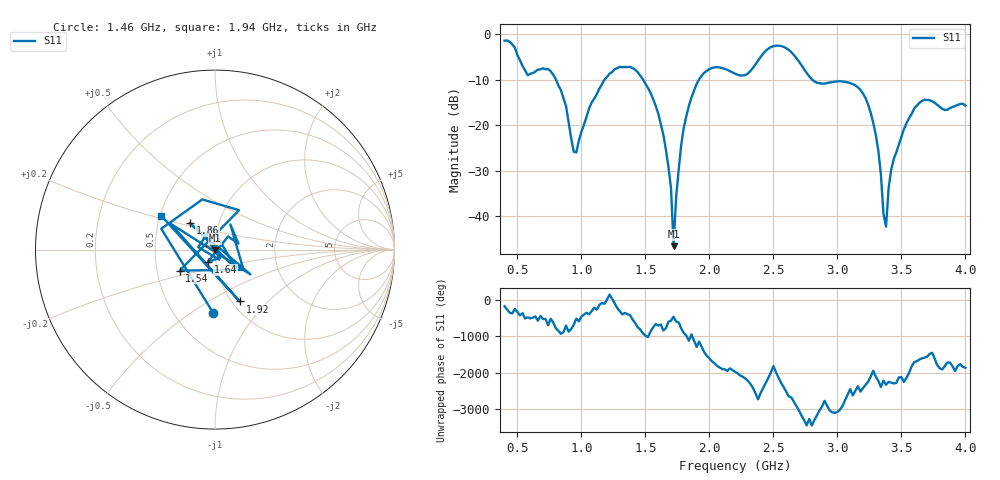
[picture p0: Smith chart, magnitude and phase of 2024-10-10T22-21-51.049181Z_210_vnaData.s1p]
! Created with skrf (http://scikit-rf.org).
# Hz S RI R 50.0
!freq ReS11 ImS11
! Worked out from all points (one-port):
!   181 points, 400 MHz to 4 GHz, reference 50 ohm
!   lowest |S11| = -46.6 dB at 1.72 GHz (marker M1), VSWR 1.01, Z = 49.9 - j0.459 ohm
!   |S11| at or under -10 dB: 802.4 MHz to 1.179 GHz (376.8 MHz wide, 38 % of centre); 1.483 GHz to 1.918 GHz (434.9 MHz wide, 25.6 % of centre); 2.806 GHz to end of sweep
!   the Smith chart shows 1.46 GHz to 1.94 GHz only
!   S11 on the Smith chart (normalised r, x): 1.46 GHz: 0.77, -0.61; 1.54 GHz: 0.66, -0.16; 1.64 GHz: 0.92, -0.13; 1.86 GHz: 0.73, +0.22; 1.92 GHz: 1.09, -0.70; 1.94 GHz: 0.51, +0.22
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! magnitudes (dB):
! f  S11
! 400 MHz  -1.4
! 580 MHz  -9.0
! 760 MHz  -8.1
! 860 MHz  -14.0
! 960 MHz  -26.0
! 1.08 GHz  -15.0
! 1.3 GHz  -7.1
! 1.46 GHz  -9.1
! 1.54 GHz  -12.8
! 1.64 GHz  -22.1
! 1.7 GHz  -33.8
! 1.72 GHz  -46.6
! 1.76 GHz  -29.8
! 1.86 GHz  -13.9
! 1.92 GHz  -9.9
! 1.94 GHz  -9.1
! 2.2 GHz  -8.6
! 2.5 GHz  -2.6
! 2.66 GHz  -4.5
! 2.84 GHz  -10.6
! 3.1 GHz  -10.7
! 3.28 GHz  -19.4
! 3.32 GHz  -25.6
! 3.38 GHz  -42.3
! 3.42 GHz  -29.8
! 3.56 GHz  -18.4
! 3.68 GHz  -14.4
! 4 GHz  -15.7
